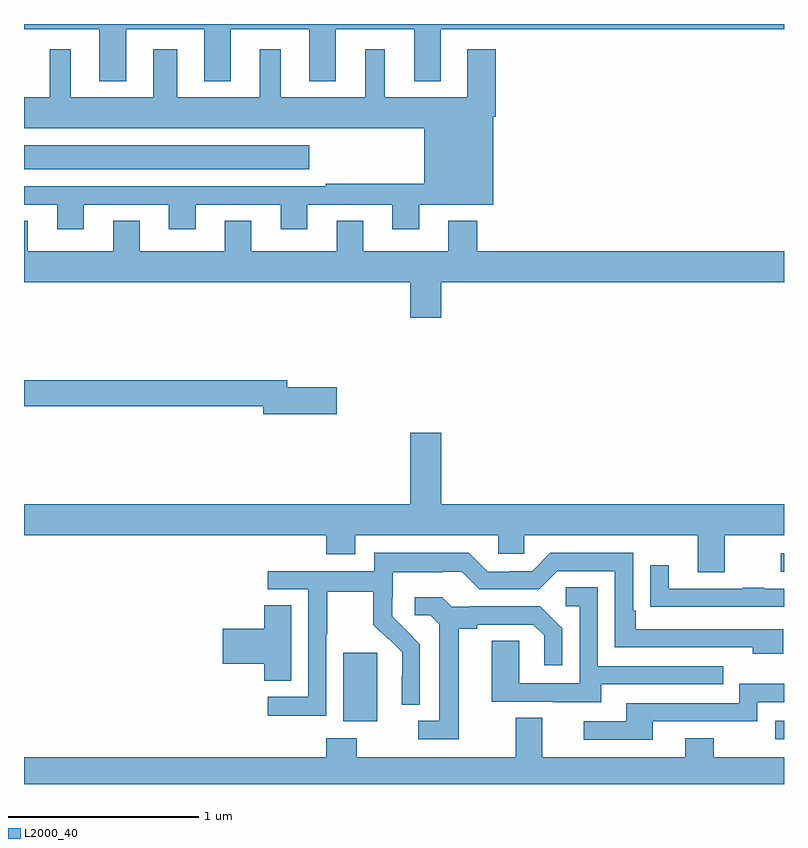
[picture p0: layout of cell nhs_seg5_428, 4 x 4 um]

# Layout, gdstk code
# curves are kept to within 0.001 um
import gdstk
lib = gdstk.Library(unit=1e-6, precision=1e-09)
def R(c, l, rs):  # rectangles x0, y0, x1, y1
    for r in rs: c.add(gdstk.rectangle(r[:2], r[2:], *l))
def P(c, l, *ps):  # polygons
    for p in ps: c.add(gdstk.Polygon(p, *l))
L2000_40 = (2000, 40)

nhs_seg5_428 = lib.new_cell('nhs_seg5_428')
R(nhs_seg5_428, L2000_40, [(142.953,841.035,143,841.131), (140.681,841.13,140.86,841.491), (142.983,841.917,143,842.013), (139,844.034,140.5,844.162)])
P(nhs_seg5_428, L2000_40, [(139.537,844.772),(139.949,844.772),(139.949,844.499),(140.089,844.499),(140.089,844.772),(140.501,844.772),(140.501,844.499),(140.641,844.499),(140.641,844.772),(141.053,844.772),(141.053,844.499),(141.193,844.499),(141.193,844.772),(143,844.772),(143,844.799),(139,844.799),(139,844.772),(139.397,844.772),(139.397,844.499),(139.537,844.499)],
  [(139.315,843.849),(139.763,843.849),(139.763,843.72),(139.903,843.72),(139.903,843.849),(140.351,843.849),(140.351,843.72),(140.491,843.72),(140.491,843.849),(140.939,843.849),(140.939,843.72),(141.079,843.72),(141.079,843.848),(141.469,843.848),(141.469,844.31),(141.482,844.31),(141.482,844.666),(141.332,844.666),(141.332,844.414),(140.899,844.414),(140.899,844.666),(140.795,844.666),(140.795,844.414),(140.35,844.414),(140.35,844.666),(140.24,844.666),(140.24,844.414),(139.807,844.414),(139.807,844.666),(139.679,844.666),(139.679,844.414),(139.246,844.414),(139.246,844.666),(139.136,844.666),(139.136,844.414),(139,844.414),(139,844.25),(141.107,844.25),(141.107,843.958),(140.587,843.958),(140.587,843.945),(139,843.945),(139,843.849),(139.175,843.849),(139.175,843.72),(139.315,843.72)],
  [(141.196,843.44),(143,843.44),(143,843.604),(141.386,843.604),(141.386,843.763),(141.233,843.763),(141.233,843.604),(140.785,843.604),(140.785,843.764),(140.645,843.764),(140.645,843.604),(140.197,843.604),(140.197,843.764),(140.057,843.764),(140.057,843.604),(139.609,843.604),(139.609,843.764),(139.469,843.764),(139.469,843.604),(139.021,843.604),(139.021,843.764),(139,843.764),(139,843.44),(141.032,843.44),(141.032,843.252),(141.196,843.252)],
  [(140.647,842.888),(140.386,842.888),(140.386,842.924),(139,842.924),(139,842.788),(140.258,842.788),(140.258,842.746),(140.647,842.746)],
  [(142.687,842.108),(143,842.108),(143,842.272),(141.196,842.272),(141.196,842.647),(141.032,842.647),(141.032,842.272),(139,842.272),(139,842.108),(140.591,842.108),(140.591,842.009),(140.743,842.009),(140.743,842.108),(141.495,842.108),(141.495,842.01),(141.633,842.01),(141.633,842.108),(142.547,842.108),(142.547,841.914),(142.687,841.914)],
  [(140.592,841.588),(140.595,841.588),(140.595,841.812),(140.839,841.812),(140.839,841.637),(140.916,841.56),(140.919,841.563),(140.99,841.493),(140.99,841.37),(140.988,841.37),(140.988,841.216),(141.084,841.216),(141.084,841.534),(140.938,841.682),(140.938,841.779),(140.94,841.779),(140.94,841.913),(141.203,841.913),(141.203,841.917),(141.303,841.917),(141.396,841.824),(141.711,841.824),(141.807,841.92),(142.11,841.92),(142.11,841.518),(142.835,841.518),(142.835,841.484),(142.996,841.484),(142.996,841.614),(142.219,841.614),(142.219,841.711),(142.206,841.711),(142.206,842.016),(141.771,842.016),(141.675,841.92),(141.557,841.92),(141.557,841.917),(141.441,841.917),(141.341,842.017),(140.844,842.017),(140.844,841.92),(140.283,841.92),(140.283,841.824),(140.496,841.824),(140.496,841.257),(140.283,841.257),(140.283,841.159),(140.592,841.159)],
  [(143,841.827),(142.895,841.827),(142.895,841.832),(142.783,841.832),(142.783,841.827),(142.393,841.827),(142.393,841.951),(142.297,841.951),(142.297,841.732),(142.399,841.732),(142.399,841.731),(143,841.731)],
  [(142.039,841.323),(142.679,841.323),(142.679,841.419),(142.02,841.419),(142.02,841.835),(141.852,841.835),(141.852,841.734),(141.924,841.734),(141.924,841.329),(141.606,841.329),(141.606,841.553),(141.461,841.553),(141.461,841.233),(141.785,841.233),(141.785,841.229),(142.039,841.229)],
  [(141.289,841.616),(141.385,841.616),(141.385,841.638),(141.68,841.638),(141.737,841.581),(141.737,841.425),(141.834,841.425),(141.834,841.618),(141.718,841.734),(141.346,841.734),(141.346,841.731),(141.252,841.731),(141.2,841.783),(141.057,841.783),(141.057,841.686),(141.138,841.686),(141.185,841.639),(141.185,841.131),(141.075,841.131),(141.075,841.035),(141.289,841.035)],
  [(140.407,841.739),(140.264,841.739),(140.264,841.616),(140.046,841.616),(140.046,841.433),(140.264,841.433),(140.264,841.342),(140.407,841.342)],
  [(142.309,841.128),(142.86,841.128),(142.86,841.23),(143,841.23),(143,841.327),(142.764,841.327),(142.764,841.224),(142.169,841.224),(142.169,841.128),(141.945,841.128),(141.945,841.032),(142.309,841.032)],
  [(143,840.94),(142.629,840.94),(142.629,841.039),(142.481,841.039),(142.481,840.94),(141.727,840.94),(141.727,841.148),(141.587,841.148),(141.587,840.94),(140.751,840.94),(140.751,841.039),(140.591,841.039),(140.591,840.94),(139,840.94),(139,840.799),(143,840.799)])

lib.write_gds('nhs_seg5_428.gds')
